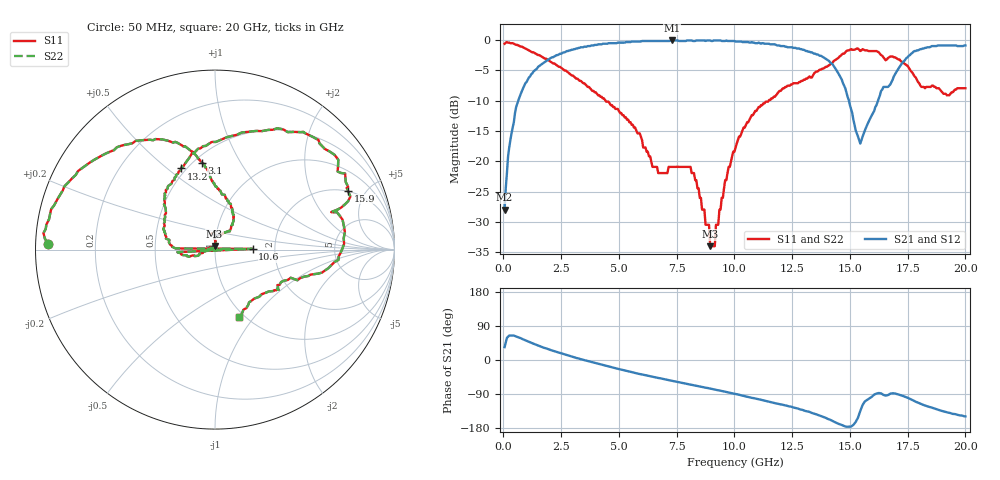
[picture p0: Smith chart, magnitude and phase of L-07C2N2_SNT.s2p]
#	mhz	s	ma	r	50
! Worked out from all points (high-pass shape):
!   400 points, 50 MHz to 20 GHz, reference 50 ohm
!   highest |S21| = -0.09 dB at 7.3 GHz (marker M1); lowest = -28.0 dB at 50 MHz (marker M2)
!   |S21| within 3 dB of the highest: 2.004 GHz to 13.95 GHz (11.94 GHz wide, 150 % of centre); 17.43 GHz to end of sweep
!   lowest |S11| = -34.0 dB at 8.95 GHz (marker M3), VSWR 1.04, Z = 49.7 + j1.97 ohm
!   |S11| at or under -10 dB: 4.419 GHz to 11.48 GHz (7.063 GHz wide, 88.8 % of centre)
!   |S22| runs from -34.0 to -0.4 dB; largest |S21 - S12| = 0
!   S11 on the Smith chart (normalised r, x): 50 MHz: 0.04, +0.02; 3.1 GHz: 0.55, +0.70; 10.6 GHz: 1.53, +0.01; 13.2 GHz: 0.47, +0.56; 15.9 GHz: 1.97, +3.75; 20 GHz: 0.94, -0.84
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50  0.93 178.1  0.04 34.0  0.04 34.0  0.93 178.1
250  0.95 171.6  0.13 64.5  0.13 64.5  0.95 171.6
850  0.87 148.7  0.4 54.5  0.4 54.5  0.87 148.7
3100  0.49 98.4  0.84 6.5  0.84 6.5  0.49 98.4
3400  0.45 95.7  0.87 1.3  0.87 1.3  0.45 95.7
6700  0.08 78.5  0.98 -47.4  0.98 -47.4  0.08 78.5
7300  0.09 101.0  0.99 -54.9  0.99 -54.9  0.09 101.0
8250  0.08 94.2  0.98 -66.8  0.98 -66.8  0.08 94.2
8950  0.02 97.7  0.99 -75.5  0.99 -75.5  0.02 97.7
10050  0.13 -165.5  0.97 -89.8  0.97 -89.8  0.13 -165.5
10550  0.21 -176.1  0.96 -97.0  0.96 -97.0  0.21 -176.1
10600  0.21 1.1  0.96 -97.6  0.96 -97.6  0.21 1.1
10650  0.22 178.3  0.95 -98.2  0.95 -98.2  0.22 178.3
10750  0.24 176.1  0.96 -99.9  0.96 -99.9  0.24 176.1
13200  0.49 112.6  0.8 -136.2  0.8 -136.2  0.49 112.6
13350  0.49 111.8  0.79 -139.6  0.79 -139.6  0.49 111.8
14850  0.81 53.9  0.37 -176.2  0.37 -176.2  0.81 53.9
15450  0.81 32.5  0.14 -134.4  0.14 -134.4  0.81 32.5
15900  0.81 23.9  0.23 -99.0  0.23 -99.0  0.81 23.9
16700  0.72 15.2  0.42 -90.7  0.42 -90.7  0.72 15.2
17800  0.5 -18.6  0.81 -108.5  0.81 -108.5  0.5 -18.6
20000  0.4 -70.7  0.9 -148.9  0.9 -148.9  0.4 -70.7
